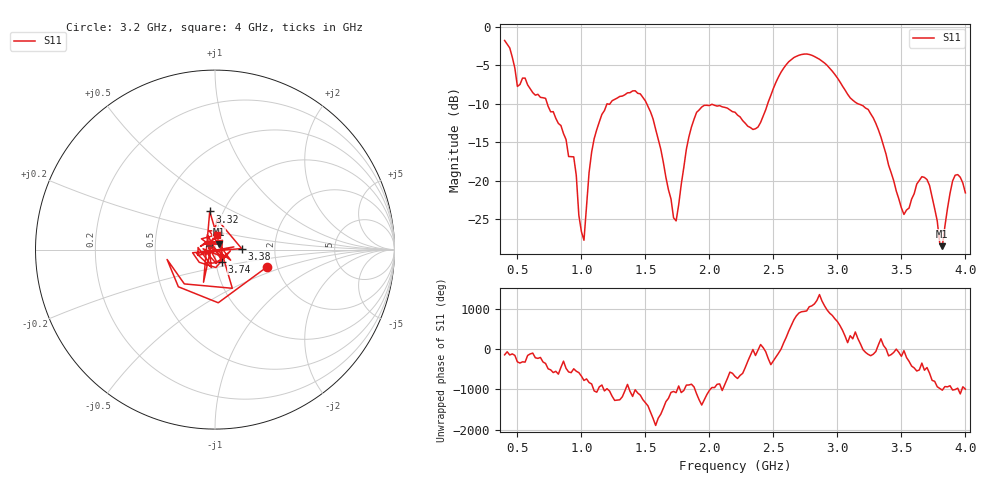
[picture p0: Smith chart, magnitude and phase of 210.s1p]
!Created with skrf (http://scikit-rf.org).
# Hz S RI R 50.0
!freq ReS11 ImS11
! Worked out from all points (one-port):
!   181 points, 400 MHz to 4 GHz, reference 50 ohm
!   lowest |S11| = -28.5 dB at 3.82 GHz (marker M1), VSWR 1.08, Z = 51.9 + j3.31 ohm
!   |S11| at or under -10 dB: 733.8 MHz to 1.2 GHz (466.1 MHz wide, 48.2 % of centre); 1.511 GHz to 2.455 GHz (944.3 MHz wide, 47.6 % of centre); 3.161 GHz to end of sweep (the widest 3 of 4)
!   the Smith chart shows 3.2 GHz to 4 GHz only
!   S11 on the Smith chart (normalised r, x): 3.2 GHz: 1.78, -0.37; 3.32 GHz: 0.86, +0.38; 3.38 GHz: 1.35, +0.02; 3.74 GHz: 1.07, -0.15; 4 GHz: 1.01, +0.17
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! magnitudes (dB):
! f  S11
! 400 MHz  -1.8
! 500 MHz  -7.7
! 720 MHz  -9.3
! 860 MHz  -13.9
! 940 MHz  -16.9
! 980 MHz  -24.5
! 1.02 GHz  -27.8
! 1.06 GHz  -18.9
! 1.1 GHz  -14.5
! 1.3 GHz  -9.0
! 1.5 GHz  -9.6
! 1.72 GHz  -24.8
! 1.76 GHz  -23.1
! 1.9 GHz  -11.1
! 2.2 GHz  -11.1
! 2.38 GHz  -13.0
! 2.66 GHz  -4.0
! 3.1 GHz  -9.2
! 3.2 GHz  -10.3
! 3.32 GHz  -13.4
! 3.38 GHz  -16.6
! 3.52 GHz  -24.4
! 3.56 GHz  -23.6
! 3.66 GHz  -19.5
! 3.74 GHz  -22.1
! 3.82 GHz  -28.5
! 3.9 GHz  -20.0
! 4 GHz  -21.6
